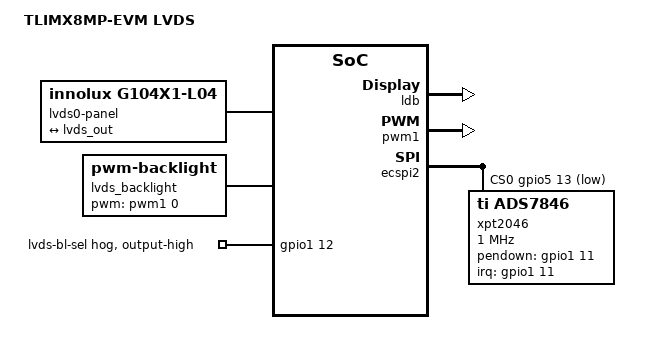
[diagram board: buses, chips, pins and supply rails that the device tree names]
/*
 * Copyright (C) 2015 GuangZhou Tronlong co., LTD - http://www.tronlong.com
 *
 * This program is free software; you can redistribute it and/or modify
 * it under the terms of the GNU General Public License version 2 as
 * published by the Free Software Foundation.
 */

/dts-v1/;

#include "tlimx8mp-evm.dts"

/ {
	model = "TLIMX8MP-EVM LVDS";

	lvds0-panel {
		compatible = "innolux,g104x1-l04";

		port {
			panel_in: endpoint {
				remote-endpoint = <&lvds_out>;
			};
		};
	};

	lvds_backlight: lvds_backlight {
		compatible = "pwm-backlight";
		pwms = <&pwm1 0 100000>;
		status = "okay";
		brightness-levels = <0 100>;
		num-interpolated-steps = <100>;
		default-brightness-level = <100>;
	};
};

&i2c2 {
	/delete-node/ lvds-to-hdmi-bridge@60;
};

&ldb {
	status = "okay";

	lvds-channel@0 {
		fsl,data-mapping = "spwg";
		fsl,data-width = <24>;
		status = "okay";

		port@1 {
			reg = <1>;

			lvds_out: endpoint {
				remote-endpoint = <&panel_in>;
			};
		};
	};
};

&mipi_dsi {
	status = "disabled";
};

&pwm1 {
	pinctrl-names = "default";
	pinctrl-0 = <&pinctrl_pwm1>;
	status = "okay";
};

&ecspi2 {
	#address-cells = <1>;
	#size-cells = <0>;
	fsl,spi-num-chipselects = <1>;
	pinctrl-names = "default";
	pinctrl-0 = <&pinctrl_ecspi2 &pinctrl_ecspi2_cs &pinctrl_xpt2046_penirq>;
	cs-gpios = <&gpio5 13 GPIO_ACTIVE_LOW>;
	status = "okay";

	xpt2046@0 {
		reg = <0>;
		compatible = "ti,ads7846";
		interrupt-parent = <&gpio1>;
		interrupts = <11 0>;
		spi-max-frequency = <1000000>;
		pendown-gpio = <&gpio1 11 0>;
		ti,x-min = /bits/ 16 <0>;
		ti,x-max = /bits/ 16 <0xfff>;
		ti,y-min = /bits/ 16 <0>;
		ti,y-max = /bits/ 16 <0xfff>;
		ti,x-plate-ohms = /bits/ 16 <180>;
		ti,pressure-max = /bits/ 16 <512>;
		ti,debounce-max = /bits/ 16 <10>;
		ti,debounce-tol = /bits/ 16 <30>;
		ti,debounce-rep = /bits/ 16 <1>;
		ti,settle-delay-usec = /bits/ 16 <150>;
		ti,keep-vref-on = <1>;
		linux,wakeup;
		wakeup-source;
	};

	/delete-node/ spi@0;
};

&gpio1 {
	pinctrl-names = "default";
	pinctrl-0 = <&pinctrl_lvds_bl_sel>;

	lvds-bl-sel {
		gpio-hog;
		gpios = <12 GPIO_ACTIVE_HIGH>;
		output-high;
	};
};

&iomuxc {
	pinctrl_pwm1: pwm1grp {
		fsl,pins = <
			MX8MP_IOMUXC_GPIO1_IO08__PWM1_OUT	0x116
		>;
	};

	pinctrl_lvds_bl_sel: lvds_bl_sel {
		fsl,pins = <
			MX8MP_IOMUXC_GPIO1_IO12__GPIO1_IO12		0x00000106
		>;
	};

	pinctrl_ecspi2: ecspi2grp {
		fsl,pins = <
			MX8MP_IOMUXC_ECSPI2_SCLK__ECSPI2_SCLK		0x82
			MX8MP_IOMUXC_ECSPI2_MOSI__ECSPI2_MOSI		0x82
			MX8MP_IOMUXC_ECSPI2_MISO__ECSPI2_MISO		0x82
		>;
	};

	pinctrl_ecspi2_cs: ecspi2cs {
		fsl,pins = <
			MX8MP_IOMUXC_ECSPI2_SS0__GPIO5_IO13		0x40000
		>;
	};

	pinctrl_xpt2046_penirq: xpt2046_penirq {
		fsl,pins = <
			MX8MP_IOMUXC_GPIO1_IO11__GPIO1_IO11		0x00000106
		>;
	};
};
